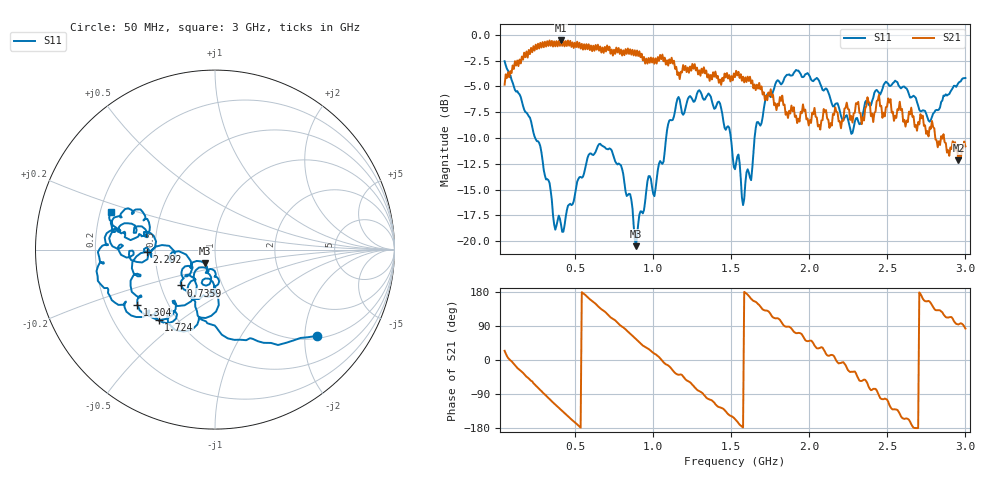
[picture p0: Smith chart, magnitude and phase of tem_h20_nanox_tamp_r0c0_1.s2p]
! nanovna_capture.py 2026-10-26T21:13:08+0900
! NanoVNA-F_V2 fw 0.6.0 SN 4A3639384505514B
! cal: load open short thru cal'ed  over 50000000-3000000000 Hz, 201 points
! points 401, avg 4
! TEM h=20, tampered Nano X, flat back down, 0 deg (length across cell, USB left seen from PORT 1), centred, placement 1
# HZ S RI R 50
! S12 and S22 are not measured (written as 0)
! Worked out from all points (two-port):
!   401 points, 50 MHz to 3 GHz, reference 50 ohm
!   highest |S21| = -0.55 dB at 411.4 MHz (marker M1); lowest = -12.2 dB at 2.956 GHz (marker M2)
!   |S21| within 3 dB of the highest: 95.88 MHz to 1.153 GHz (1.057 GHz wide, 169 % of centre); 1.232 GHz to 1.286 GHz (54.18 MHz wide, 4.3 % of centre) (the widest 2 of 10)
!   lowest |S11| = -20.5 dB at 890.8 MHz (marker M3), VSWR 1.21, Z = 44.2 - j6.76 ohm
!   |S11| at or under -10 dB: 245.9 MHz to 1.084 GHz (837.9 MHz wide, 126 % of centre); 1.498 GHz to 1.65 GHz (151.7 MHz wide, 9.64 % of centre)
!   S12 and S22 are empty: the file has one direction only
!   S11 on the Smith chart (normalised r, x): 50 MHz: 1.07, -2.31; 735.9 MHz: 0.64, -0.27; 1.304 GHz: 0.34, -0.29; 1.724 GHz: 0.40, -0.42; 2.292 GHz: 0.45, -0.01; 3 GHz: 0.24, +0.16
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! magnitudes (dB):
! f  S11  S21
! 50 MHz  -2.6  -4.8
! 271.2 MHz  -10.5  -1.3
! 367.1 MHz  -18.4  -0.6
! 411.4 MHz  -18.4  -0.5
! 544.1 MHz  -13.8  -0.9
! 654.8 MHz  -10.6  -1.5
! 735.9 MHz  -11.2  -1.4
! 890.8 MHz  -20.5  -2.0
! 971.9 MHz  -13.7  -2.2
! 1.038 GHz  -12.5  -2.5
! 1.156 GHz  -6.2  -3.9
! 1.304 GHz  -5.5  -4.0
! 1.429 GHz  -6.6  -4.3
! 1.525 GHz  -13.0  -4.1
! 1.584 GHz  -15.9  -4.6
! 1.724 GHz  -6.0  -5.9
! 2.019 GHz  -4.5  -7.5
! 2.292 GHz  -8.4  -7.6
! 2.513 GHz  -5.0  -6.6
! 2.771 GHz  -8.4  -9.0
! 2.956 GHz  -4.7  -12.2
! 3 GHz  -4.2  -10.8
